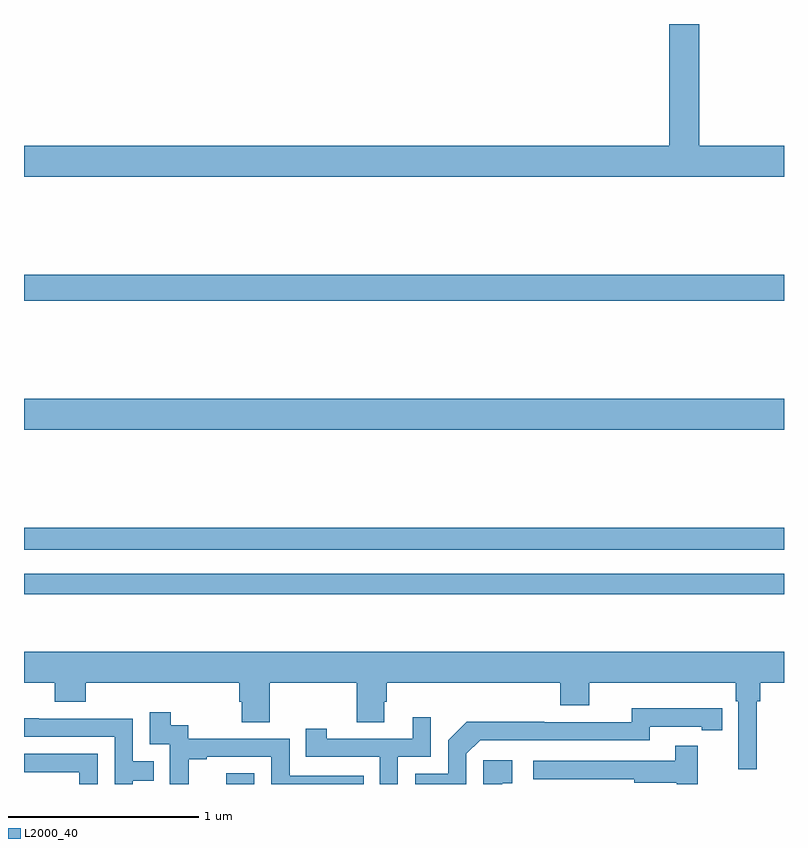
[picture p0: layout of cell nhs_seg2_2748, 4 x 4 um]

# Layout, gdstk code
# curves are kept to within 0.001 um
import gdstk
lib = gdstk.Library(unit=1e-6, precision=1e-09)
def R(c, l, rs):  # rectangles x0, y0, x1, y1
    for r in rs: c.add(gdstk.rectangle(r[:2], r[2:], *l))
def P(c, l, *ps):  # polygons
    for p in ps: c.add(gdstk.Polygon(p, *l))
L2000_40 = (2000, 40)

nhs_seg2_2748 = lib.new_cell('nhs_seg2_2748')
R(nhs_seg2_2748, L2000_40, [(256.065,617.8,256.212,617.857), (255,618.798,259,618.906), (255,619.032,259,619.148), (255,619.664,259,619.828), (255,620.344,259,620.48)])
P(nhs_seg2_2748, L2000_40, [(259,621.16),(258.555,621.16),(258.555,621.8),(258.395,621.8),(258.395,621.16),(255,621.16),(255,620.996),(259,620.996)],
  [(258.856,618.236),(258.875,618.236),(258.875,618.332),(259,618.332),(259,618.496),(255,618.496),(255,618.332),(255.161,618.332),(255.161,618.233),(255.326,618.233),(255.326,618.332),(256.133,618.332),(256.133,618.234),(256.145,618.234),(256.145,618.124),(256.293,618.124),(256.293,618.332),(256.75,618.332),(256.75,618.124),(256.897,618.124),(256.897,618.234),(256.91,618.234),(256.91,618.332),(257.822,618.332),(257.822,618.215),(257.974,618.215),(257.974,618.332),(258.746,618.332),(258.746,618.236),(258.759,618.236),(258.759,617.877),(258.856,617.877)],
  [(257.328,617.958),(257.4,618.03),(258.294,618.03),(258.294,618.102),(258.566,618.102),(258.566,618.082),(258.674,618.082),(258.674,618.198),(258.198,618.199),(258.198,618.126),(257.738,618.126),(257.738,618.128),(257.33,618.128),(257.232,618.03),(257.232,617.853),(257.058,617.853),(257.058,617.8),(257.328,617.8)],
  [(255.866,617.931),(255.961,617.931),(255.961,617.943),(256.302,617.943),(256.302,617.8),(256.787,617.8),(256.787,617.844),(256.398,617.844),(256.398,618.039),(255.864,618.039),(255.864,618.108),(255.772,618.108),(255.772,618.178),(255.663,618.178),(255.663,618.009),(255.768,618.009),(255.768,617.8),(255.866,617.8)],
  [(256.968,617.943),(257.142,617.943),(257.142,618.151),(257.045,618.151),(257.045,618.039),(256.594,618.039),(256.594,618.091),(256.483,618.091),(256.483,617.943),(256.872,617.943),(256.872,617.8),(256.968,617.8)],
  [(255.573,617.818),(255.683,617.818),(255.683,617.919),(255.573,617.919),(255.573,618.144),(255.077,618.144),(255.077,618.146),(255,618.146),(255,618.048),(255.477,618.048),(255.477,617.8),(255.573,617.8)],
  [(258.545,618.001),(258.427,618.001),(258.427,617.922),(257.679,617.922),(257.679,617.826),(258.211,617.826),(258.211,617.806),(258.435,617.806),(258.435,617.8),(258.545,617.8)],
  [(255.387,617.958),(255,617.958),(255,617.862),(255.291,617.862),(255.291,617.8),(255.387,617.8)],
  [(257.516,617.805),(257.569,617.805),(257.569,617.926),(257.418,617.926),(257.418,617.8),(257.516,617.8)])

lib.write_gds('nhs_seg2_2748.gds')
